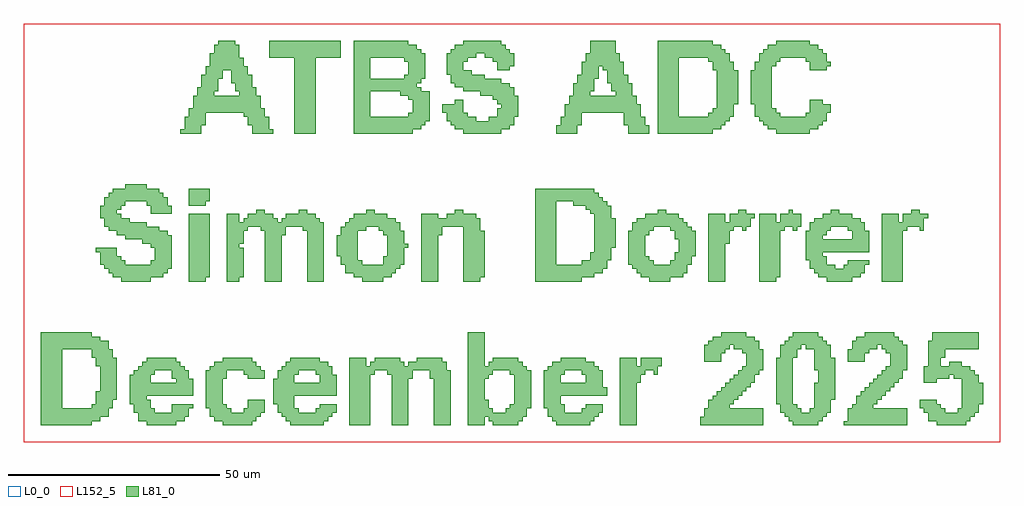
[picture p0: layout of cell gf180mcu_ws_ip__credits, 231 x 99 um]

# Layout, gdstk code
import gdstk
lib = gdstk.Library(unit=1e-6, precision=1e-09)
def R(c, l, rs):  # rectangles x0, y0, x1, y1
    for r in rs: c.add(gdstk.rectangle(r[:2], r[2:], *l))
def P(c, l, *ps):  # polygons
    for p in ps: c.add(gdstk.Polygon(p, *l))
L0_0 = (0, 0)
L81_0 = (81, 0)
L152_5 = (152, 5)

gf180mcu_ws_ip__credits = lib.new_cell('gf180mcu_ws_ip__credits')
R(gf180mcu_ws_ip__credits, L0_0, [(0,0,231,99)])
P(gf180mcu_ws_ip__credits, L81_0, [(29,4),(29,5),(27,5),(27,7),(26,7),(26,9),(25,9),(25,16),(26,16),(26,17),(31,17),(31,16),(30,16),(30,14),(36,14),(36,15),(35,15),(35,17),(27,17),(27,18),(28,18),(28,19),(29,19),(29,20),(36,20),(36,19),(37,19),(37,18),(38,18),(38,17),(39,17),(39,15),(40,15),(40,11),(29,11),(29,10),(30,10),(30,8),(31,8),(31,7),(35,7),(35,9),(40,9),(40,8),(39,8),(39,6),(38,6),(38,5),(36,5),(36,4)],
  [(47,4),(47,5),(45,5),(45,6),(44,6),(44,8),(43,8),(43,17),(44,17),(44,18),(45,18),(45,19),(47,19),(47,20),(54,20),(54,19),(55,19),(55,18),(56,18),(56,17),(57,17),(57,15),(53,15),(53,16),(52,16),(52,17),(48,17),(48,15),(47,15),(47,9),(48,9),(48,8),(49,8),(49,7),(52,7),(52,8),(53,8),(53,10),(57,10),(57,7),(56,7),(56,6),(55,6),(55,5),(54,5),(54,4)],
  [(63,4),(63,5),(62,5),(62,6),(61,6),(61,7),(60,7),(60,9),(59,9),(59,15),(60,15),(60,17),(65,17),(65,16),(64,16),(64,14),(70,14),(70,16),(69,16),(69,17),(61,17),(61,18),(62,18),(62,19),(63,19),(63,20),(70,20),(70,19),(72,19),(72,18),(73,18),(73,16),(74,16),(74,11),(64,11),(64,8),(65,8),(65,7),(69,7),(69,8),(70,8),(70,9),(74,9),(74,7),(73,7),(73,6),(72,6),(72,5),(71,5),(71,4)],
  [(77,4),(77,20),(81,20),(81,18),(82,18),(82,19),(83,19),(83,20),(89,20),(89,19),(90,19),(90,18),(91,18),(91,19),(93,19),(93,20),(99,20),(99,19),(100,19),(100,17),(101,17),(101,4),(97,4),(97,15),(96,15),(96,17),(92,17),(92,15),(91,15),(91,4),(87,4),(87,16),(86,16),(86,17),(83,17),(83,16),(82,16),(82,4)],
  [(126,4),(126,5),(125,5),(125,6),(124,6),(124,8),(123,8),(123,17),(128,17),(128,16),(127,16),(127,14),(133,14),(133,16),(132,16),(132,17),(124,17),(124,18),(125,18),(125,19),(127,19),(127,20),(133,20),(133,19),(135,19),(135,18),(136,18),(136,17),(137,17),(137,13),(138,13),(138,11),(127,11),(127,9),(128,9),(128,7),(132,7),(132,8),(133,8),(133,9),(137,9),(137,7),(136,7),(136,6),(135,6),(135,5),(134,5),(134,4)],
  [(141,4),(141,20),(145,20),(145,18),(146,18),(146,20),(151,20),(151,18),(150,18),(150,16),(149,16),(149,17),(147,17),(147,16),(146,16),(146,14),(145,14),(145,4)],
  [(4,4),(4,22),(9,22),(9,8),(16,8),(16,9),(17,9),(17,12),(18,12),(18,18),(17,18),(17,20),(16,20),(16,22),(4,22),(4,26),(16,26),(16,25),(18,25),(18,24),(20,24),(20,22),(21,22),(21,20),(22,20),(22,10),(21,10),(21,8),(20,8),(20,6),(18,6),(18,5),(16,5),(16,4)],
  [(105,4),(105,17),(111,17),(111,16),(110,16),(110,15),(109,15),(109,10),(110,10),(110,8),(111,8),(111,7),(114,7),(114,8),(115,8),(115,9),(116,9),(116,16),(115,16),(115,17),(105,17),(105,26),(109,26),(109,18),(110,18),(110,19),(111,19),(111,20),(117,20),(117,19),(118,19),(118,18),(119,18),(119,17),(120,17),(120,8),(119,8),(119,6),(118,6),(118,5),(117,5),(117,4),(111,4),(111,5),(110,5),(110,6),(109,6),(109,4)],
  [(160,4),(160,6),(161,6),(161,8),(162,8),(162,10),(163,10),(163,11),(164,11),(164,12),(165,12),(165,13),(166,13),(166,14),(167,14),(167,15),(168,15),(168,16),(169,16),(169,17),(170,17),(170,18),(171,18),(171,21),(170,21),(170,22),(168,22),(168,23),(167,23),(167,22),(166,22),(166,21),(165,21),(165,19),(161,19),(161,23),(162,23),(162,24),(163,24),(163,25),(165,25),(165,26),(171,26),(171,25),(173,25),(173,24),(174,24),(174,22),(175,22),(175,17),(174,17),(174,16),(173,16),(173,14),(172,14),(172,13),(171,13),(171,12),(170,12),(170,11),(169,11),(169,10),(168,10),(168,9),(167,9),(167,8),(175,8),(175,4)],
  [(182,4),(182,5),(181,5),(181,6),(180,6),(180,7),(179,7),(179,9),(178,9),(178,20),(179,20),(179,23),(184,23),(184,22),(183,22),(183,20),(182,20),(182,9),(183,9),(183,8),(184,8),(184,7),(186,7),(186,8),(187,8),(187,14),(188,14),(188,17),(187,17),(187,22),(185,22),(185,23),(180,23),(180,24),(181,24),(181,25),(182,25),(182,26),(188,26),(188,25),(189,25),(189,24),(190,24),(190,23),(191,23),(191,20),(192,20),(192,10),(191,10),(191,7),(190,7),(190,6),(189,6),(189,5),(188,5),(188,4)],
  [(194,4),(194,5),(195,5),(195,8),(196,8),(196,9),(197,9),(197,11),(198,11),(198,12),(199,12),(199,13),(200,13),(200,14),(201,14),(201,15),(202,15),(202,16),(203,16),(203,17),(204,17),(204,18),(205,18),(205,21),(204,21),(204,22),(203,22),(203,23),(202,23),(202,22),(200,22),(200,21),(199,21),(199,19),(195,19),(195,22),(196,22),(196,24),(197,24),(197,25),(199,25),(199,26),(206,26),(206,25),(207,25),(207,24),(208,24),(208,23),(209,23),(209,17),(208,17),(208,15),(207,15),(207,14),(206,14),(206,13),(205,13),(205,12),(204,12),(204,11),(203,11),(203,10),(202,10),(202,9),(201,9),(201,8),(209,8),(209,4)],
  [(216,4),(216,5),(214,5),(214,7),(213,7),(213,8),(212,8),(212,10),(216,10),(216,9),(217,9),(217,8),(218,8),(218,7),(221,7),(221,8),(222,8),(222,15),(220,15),(220,16),(219,16),(219,15),(216,15),(216,14),(213,14),(213,18),(214,18),(214,24),(215,24),(215,26),(226,26),(226,22),(218,22),(218,20),(217,20),(217,18),(219,18),(219,19),(222,19),(222,18),(224,18),(224,17),(225,17),(225,16),(226,16),(226,14),(227,14),(227,9),(226,9),(226,7),(225,7),(225,6),(224,6),(224,5),(223,5),(223,4)],
  [(39,38),(39,54),(44,54),(44,39),(43,39),(43,38)],
  [(48,38),(48,54),(51,54),(51,52),(52,52),(52,53),(53,53),(53,54),(55,54),(55,55),(57,55),(57,54),(59,54),(59,53),(60,53),(60,52),(61,52),(61,53),(62,53),(62,54),(65,54),(65,55),(67,55),(67,54),(69,54),(69,53),(70,53),(70,52),(71,52),(71,38),(67,38),(67,50),(66,50),(66,51),(62,51),(62,49),(61,49),(61,38),(57,38),(57,50),(56,50),(56,51),(53,51),(53,50),(52,50),(52,47),(51,47),(51,46),(52,46),(52,39),(51,39),(51,38)],
  [(80,38),(80,39),(78,39),(78,40),(76,40),(76,42),(75,42),(75,44),(74,44),(74,49),(75,49),(75,51),(81,51),(81,50),(79,50),(79,43),(80,43),(80,42),(85,42),(85,44),(86,44),(86,49),(85,49),(85,50),(84,50),(84,51),(76,51),(76,52),(77,52),(77,53),(78,53),(78,54),(81,54),(81,55),(83,55),(83,54),(86,54),(86,53),(88,53),(88,52),(89,52),(89,50),(90,50),(90,47),(91,47),(91,46),(90,46),(90,42),(89,42),(89,41),(88,41),(88,40),(87,40),(87,39),(85,39),(85,38)],
  [(94,38),(94,54),(98,54),(98,53),(100,53),(100,54),(102,54),(102,55),(104,55),(104,54),(107,54),(107,53),(108,53),(108,50),(109,50),(109,39),(108,39),(108,38),(104,38),(104,51),(99,51),(99,49),(98,49),(98,38)],
  [(148,38),(148,39),(146,39),(146,40),(145,40),(145,41),(144,41),(144,42),(143,42),(143,50),(144,50),(144,51),(149,51),(149,50),(148,50),(148,49),(147,49),(147,44),(148,44),(148,43),(149,43),(149,42),(153,42),(153,43),(154,43),(154,45),(155,45),(155,48),(154,48),(154,50),(153,50),(153,51),(144,51),(144,52),(145,52),(145,53),(147,53),(147,54),(150,54),(150,55),(152,55),(152,54),(155,54),(155,53),(156,53),(156,52),(157,52),(157,51),(158,51),(158,50),(159,50),(159,44),(158,44),(158,42),(157,42),(157,40),(156,40),(156,39),(153,39),(153,38)],
  [(162,38),(162,54),(166,54),(166,52),(167,52),(167,54),(169,54),(169,55),(171,55),(171,54),(173,54),(173,53),(172,53),(172,51),(171,51),(171,50),(170,50),(170,51),(168,51),(168,50),(167,50),(167,47),(166,47),(166,38)],
  [(174,38),(174,54),(178,54),(178,52),(179,52),(179,54),(181,54),(181,55),(182,55),(182,54),(184,54),(184,51),(183,51),(183,50),(182,50),(182,51),(180,51),(180,50),(179,50),(179,39),(178,39),(178,38)],
  [(190,38),(190,39),(188,39),(188,40),(187,40),(187,41),(186,41),(186,43),(185,43),(185,50),(186,50),(186,51),(191,51),(191,50),(190,50),(190,49),(189,49),(189,48),(196,48),(196,50),(195,50),(195,51),(186,51),(186,52),(187,52),(187,53),(189,53),(189,54),(191,54),(191,55),(193,55),(193,54),(196,54),(196,53),(198,53),(198,52),(199,52),(199,50),(200,50),(200,45),(189,45),(189,44),(190,44),(190,42),(192,42),(192,41),(194,41),(194,42),(195,42),(195,43),(200,43),(200,42),(199,42),(199,40),(198,40),(198,39),(196,39),(196,38)],
  [(203,38),(203,54),(207,54),(207,52),(208,52),(208,54),(210,54),(210,55),(212,55),(212,54),(214,54),(214,53),(213,53),(213,50),(212,50),(212,51),(209,51),(209,50),(208,50),(208,38)],
  [(39,56),(39,60),(44,60),(44,57),(43,57),(43,56)],
  [(121,38),(121,57),(126,57),(126,42),(132,42),(132,43),(134,43),(134,45),(135,45),(135,54),(134,54),(134,55),(133,55),(133,56),(130,56),(130,57),(121,57),(121,60),(135,60),(135,59),(136,59),(136,58),(137,58),(137,57),(138,57),(138,56),(139,56),(139,53),(140,53),(140,46),(139,46),(139,43),(138,43),(138,41),(137,41),(137,40),(135,40),(135,39),(132,39),(132,38)],
  [(23,38),(23,39),(21,39),(21,40),(20,40),(20,41),(19,41),(19,42),(18,42),(18,45),(17,45),(17,46),(22,46),(22,44),(23,44),(23,43),(24,43),(24,42),(30,42),(30,43),(31,43),(31,46),(30,46),(30,47),(28,47),(28,48),(24,48),(24,49),(22,49),(22,50),(20,50),(20,51),(19,51),(19,53),(18,53),(18,56),(19,56),(19,58),(20,58),(20,59),(21,59),(21,60),(24,60),(24,61),(29,61),(29,60),(32,60),(32,59),(33,59),(33,58),(34,58),(34,56),(35,56),(35,54),(30,54),(30,56),(29,56),(29,57),(24,57),(24,56),(23,56),(23,55),(22,55),(22,54),(23,54),(23,53),(25,53),(25,52),(29,52),(29,51),(32,51),(32,50),(34,50),(34,49),(35,49),(35,41),(34,41),(34,40),(33,40),(33,39),(30,39),(30,38)],
  [(37,73),(37,74),(38,74),(38,77),(39,77),(39,79),(40,79),(40,82),(41,82),(41,84),(42,84),(42,87),(43,87),(43,88),(47,88),(47,86),(46,86),(46,83),(45,83),(45,82),(51,82),(51,83),(50,83),(50,85),(49,85),(49,88),(43,88),(43,89),(44,89),(44,92),(45,92),(45,94),(46,94),(46,95),(50,95),(50,94),(51,94),(51,91),(52,91),(52,89),(53,89),(53,87),(54,87),(54,84),(55,84),(55,82),(56,82),(56,79),(57,79),(57,77),(58,77),(58,74),(59,74),(59,73),(54,73),(54,75),(53,75),(53,77),(52,77),(52,78),(43,78),(43,75),(42,75),(42,73)],
  [(64,73),(64,91),(58,91),(58,95),(75,95),(75,91),(69,91),(69,73)],
  [(78,73),(78,83),(82,83),(82,77),(91,77),(91,78),(92,78),(92,81),(91,81),(91,82),(89,82),(89,83),(78,83),(78,91),(82,91),(82,86),(90,86),(90,87),(91,87),(91,90),(90,90),(90,91),(78,91),(78,95),(91,95),(91,94),(93,94),(93,93),(94,93),(94,92),(95,92),(95,86),(94,86),(94,85),(93,85),(93,84),(94,84),(94,83),(96,83),(96,76),(95,76),(95,75),(94,75),(94,74),(92,74),(92,73)],
  [(104,73),(104,74),(102,74),(102,75),(101,75),(101,76),(100,76),(100,78),(99,78),(99,80),(102,80),(102,81),(104,81),(104,78),(105,78),(105,77),(107,77),(107,76),(110,76),(110,77),(112,77),(112,79),(113,79),(113,80),(112,80),(112,81),(111,81),(111,82),(108,82),(108,83),(104,83),(104,84),(102,84),(102,85),(101,85),(101,87),(100,87),(100,92),(101,92),(101,93),(102,93),(102,94),(104,94),(104,95),(113,95),(113,94),(114,94),(114,93),(115,93),(115,92),(116,92),(116,89),(115,89),(115,88),(112,88),(112,90),(111,90),(111,91),(109,91),(109,92),(107,92),(107,91),(105,91),(105,90),(104,90),(104,88),(106,88),(106,87),(109,87),(109,86),(113,86),(113,85),(115,85),(115,84),(116,84),(116,82),(117,82),(117,77),(116,77),(116,75),(115,75),(115,74),(113,74),(113,73)],
  [(126,73),(126,75),(127,75),(127,77),(128,77),(128,80),(129,80),(129,82),(130,82),(130,85),(131,85),(131,87),(132,87),(132,89),(136,89),(136,86),(135,86),(135,83),(134,83),(134,82),(140,82),(140,83),(139,83),(139,85),(138,85),(138,88),(137,88),(137,89),(132,89),(132,90),(133,90),(133,92),(134,92),(134,95),(140,95),(140,92),(141,92),(141,90),(142,90),(142,87),(143,87),(143,85),(144,85),(144,82),(145,82),(145,80),(146,80),(146,77),(147,77),(147,75),(148,75),(148,73),(143,73),(143,75),(142,75),(142,78),(132,78),(132,75),(131,75),(131,73)],
  [(150,73),(150,91),(155,91),(155,77),(162,77),(162,78),(163,78),(163,79),(164,79),(164,88),(163,88),(163,90),(162,90),(162,91),(150,91),(150,95),(163,95),(163,94),(165,94),(165,93),(166,93),(166,92),(167,92),(167,90),(168,90),(168,88),(169,88),(169,80),(168,80),(168,77),(167,77),(167,76),(166,76),(166,75),(165,75),(165,74),(163,74),(163,73)],
  [(178,73),(178,74),(176,74),(176,75),(175,75),(175,76),(174,76),(174,77),(173,77),(173,80),(172,80),(172,88),(173,88),(173,90),(174,90),(174,92),(175,92),(175,93),(176,93),(176,94),(178,94),(178,95),(186,95),(186,94),(188,94),(188,93),(189,93),(189,92),(190,92),(190,90),(191,90),(191,89),(190,89),(190,88),(186,88),(186,90),(185,90),(185,91),(179,91),(179,90),(178,90),(178,89),(177,89),(177,79),(178,79),(178,78),(179,78),(179,77),(185,77),(185,78),(186,78),(186,81),(189,81),(189,80),(191,80),(191,78),(190,78),(190,76),(189,76),(189,75),(188,75),(188,74),(186,74),(186,73)])
R(gf180mcu_ws_ip__credits, L152_5, [(0,0,231,99)])

lib.write_gds('gf180mcu_ws_ip__credits.gds')
